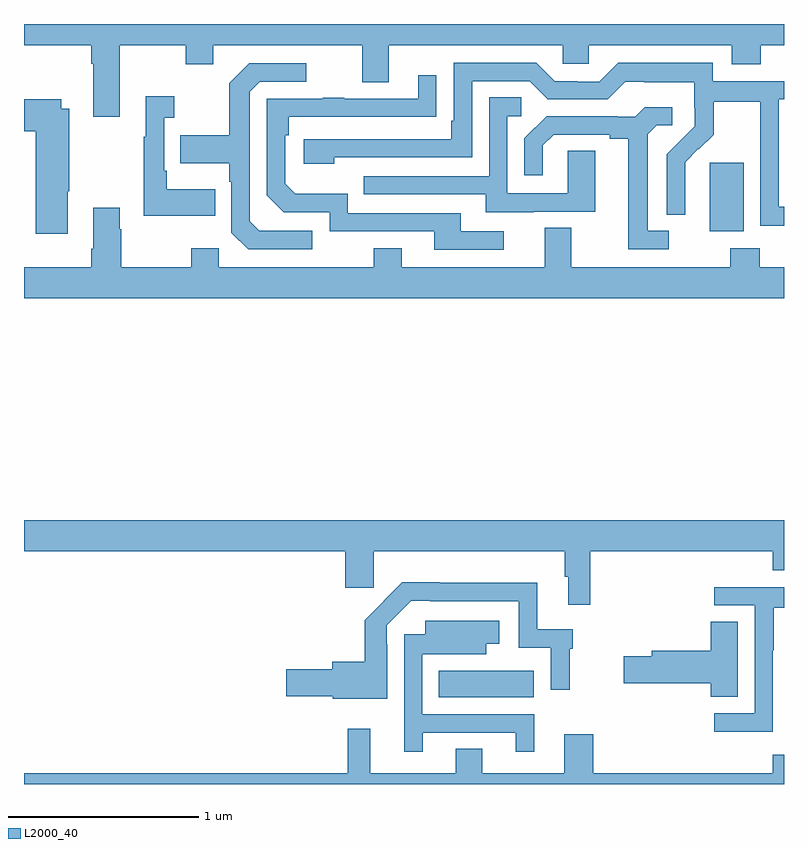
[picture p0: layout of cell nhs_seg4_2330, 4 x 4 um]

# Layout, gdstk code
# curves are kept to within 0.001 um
import gdstk
lib = gdstk.Library(unit=1e-6, precision=1e-09)
def R(c, l, rs):  # rectangles x0, y0, x1, y1
    for r in rs: c.add(gdstk.rectangle(r[:2], r[2:], *l))
def P(c, l, *ps):  # polygons
    for p in ps: c.add(gdstk.Polygon(p, *l))
L2000_40 = (2000, 40)

nhs_seg4_2330 = lib.new_cell('nhs_seg4_2330')
R(nhs_seg4_2330, L2000_40, [(233.182,825.356,233.683,825.496), (234.608,827.81,234.787,828.171)])
P(nhs_seg4_2330, L2000_40, [(231.505,828.788),(231.85,828.788),(231.85,828.689),(231.997,828.689),(231.997,828.788),(232.781,828.788),(232.781,828.594),(232.921,828.594),(232.921,828.788),(233.835,828.788),(233.835,828.69),(233.973,828.69),(233.973,828.788),(234.725,828.788),(234.725,828.689),(234.878,828.689),(234.878,828.788),(235,828.788),(235,828.9),(231,828.9),(231,828.788),(231.353,828.788),(231.353,828.692),(231.365,828.692),(231.365,828.411),(231.505,828.411)],
  [(235,827.937),(234.972,827.937),(234.972,828.504),(235,828.504),(235,828.6),(234.624,828.6),(234.624,828.697),(234.127,828.697),(234.027,828.597),(233.912,828.597),(233.912,828.6),(233.793,828.6),(233.697,828.696),(233.262,828.696),(233.262,828.391),(233.249,828.391),(233.249,828.294),(232.473,828.294),(232.473,828.164),(232.634,828.164),(232.634,828.198),(233.358,828.198),(233.358,828.6),(233.661,828.6),(233.757,828.504),(234.072,828.504),(234.165,828.597),(234.265,828.597),(234.265,828.593),(234.528,828.593),(234.528,828.459),(234.53,828.459),(234.53,828.362),(234.384,828.214),(234.384,827.896),(234.48,827.896),(234.479,828.173),(234.549,828.243),(234.552,828.24),(234.629,828.317),(234.629,828.492),(234.874,828.492),(234.874,828.268),(234.876,828.268),(234.876,827.839),(235,827.839)],
  [(232.516,827.811),(232.239,827.811),(232.188,827.862),(232.188,828.543),(232.242,828.597),(232.486,828.597),(232.486,828.693),(232.185,828.693),(232.08,828.587),(232.08,828.315),(231.823,828.315),(231.823,828.167),(232.08,828.167),(232.08,828.071),(232.092,828.071),(232.092,827.802),(232.179,827.715),(232.516,827.715)],
  [(233.524,827.808),(233.299,827.808),(233.299,827.904),(232.704,827.904),(232.704,828.007),(232.427,828.007),(232.374,828.06),(232.374,828.314),(232.394,828.314),(232.394,828.411),(233.171,828.412),(233.171,828.631),(233.075,828.631),(233.075,828.507),(232.685,828.507),(232.685,828.512),(232.573,828.512),(232.573,828.507),(232.278,828.507),(232.278,828),(232.368,827.91),(232.608,827.91),(232.608,827.808),(233.159,827.808),(233.159,827.712),(233.524,827.712)],
  [(232.007,828.031),(231.751,828.031),(231.751,828.127),(231.738,828.127),(231.738,828.407),(231.79,828.407),(231.79,828.52),(231.641,828.52),(231.641,828.307),(231.63,828.307),(231.63,827.891),(232.007,827.891)],
  [(233.683,827.913),(234.007,827.913),(234.007,828.233),(233.862,828.233),(233.862,828.009),(233.544,828.009),(233.544,828.414),(233.617,828.414),(233.617,828.515),(233.448,828.515),(233.448,828.099),(232.789,828.099),(232.789,828.003),(233.429,828.003),(233.429,827.909),(233.683,827.909)],
  [(231.229,828.019),(231.237,828.019),(231.237,828.454),(231.196,828.454),(231.196,828.505),(231,828.505),(231,828.335),(231.062,828.335),(231.062,827.796),(231.229,827.796)],
  [(234.394,827.811),(234.283,827.811),(234.283,828.319),(234.33,828.366),(234.412,828.366),(234.412,828.463),(234.268,828.463),(234.216,828.411),(234.122,828.411),(234.122,828.414),(233.75,828.414),(233.634,828.298),(233.634,828.105),(233.731,828.105),(233.731,828.261),(233.788,828.318),(234.083,828.318),(234.083,828.296),(234.179,828.296),(234.179,827.715),(234.394,827.715)],
  [(235,827.62),(234.873,827.62),(234.873,827.719),(234.718,827.719),(234.718,827.62),(233.881,827.62),(233.881,827.828),(233.741,827.828),(233.741,827.62),(232.987,827.62),(232.987,827.719),(232.84,827.719),(232.84,827.62),(232.026,827.62),(232.026,827.719),(231.88,827.719),(231.88,827.62),(231.513,827.62),(231.513,827.819),(231.505,827.819),(231.505,827.932),(231.365,827.932),(231.365,827.716),(231.353,827.716),(231.353,827.62),(231,827.62),(231,827.456),(235,827.456)],
  [(233.981,826.124),(234.941,826.124),(234.941,826.025),(235,826.025),(235,826.288),(231,826.288),(231,826.124),(232.691,826.124),(232.691,825.933),(232.841,825.933),(232.841,826.124),(233.845,826.124),(233.845,825.992),(233.864,825.992),(233.864,825.843),(233.981,825.843)],
  [(232.911,825.635),(232.908,825.635),(232.908,825.735),(233.037,825.864),(233.137,825.864),(233.137,825.861),(233.604,825.861),(233.604,825.618),(233.772,825.618),(233.772,825.396),(233.873,825.396),(233.873,825.611),(233.888,825.611),(233.888,825.714),(233.701,825.714),(233.701,825.958),(233.189,825.958),(233.189,825.961),(232.99,825.961),(232.793,825.763),(232.793,825.544),(232.622,825.544),(232.622,825.503),(232.38,825.503),(232.38,825.361),(232.626,825.361),(232.626,825.35),(232.911,825.35)],
  [(234.942,825.604),(234.945,825.604),(234.945,825.828),(235,825.828),(235,825.936),(234.633,825.936),(234.633,825.84),(234.846,825.84),(234.846,825.273),(234.633,825.273),(234.633,825.175),(234.942,825.175)],
  [(233.098,825.171),(233.588,825.171),(233.588,825.069),(233.686,825.069),(233.686,825.267),(233.097,825.267),(233.097,825.584),(233.434,825.584),(233.434,825.638),(233.5,825.638),(233.5,825.76),(233.111,825.76),(233.111,825.687),(233.001,825.687),(233.001,825.069),(233.098,825.069)],
  [(234.757,825.755),(234.614,825.755),(234.614,825.602),(234.305,825.602),(234.305,825.572),(234.156,825.572),(234.156,825.43),(234.614,825.43),(234.614,825.358),(234.757,825.358)],
  [(235,825.055),(234.941,825.055),(234.941,824.956),(233.996,824.956),(233.996,825.163),(233.843,825.163),(233.843,824.956),(233.413,824.956),(233.413,825.086),(233.273,825.086),(233.273,824.956),(232.823,824.956),(232.823,825.19),(232.705,825.19),(232.705,824.956),(231,824.956),(231,824.9),(235,824.9)])

lib.write_gds('nhs_seg4_2330.gds')
